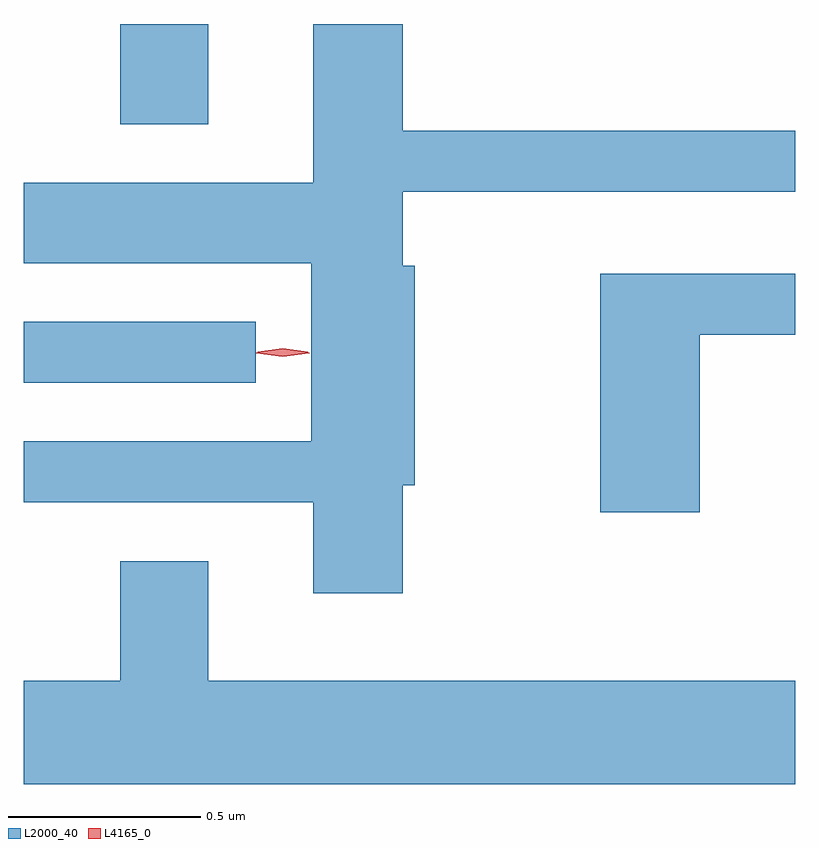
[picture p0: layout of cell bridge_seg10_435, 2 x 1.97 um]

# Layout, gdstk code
import gdstk
lib = gdstk.Library(unit=1e-6, precision=1e-09)
def R(c, l, rs):  # rectangles x0, y0, x1, y1
    for r in rs: c.add(gdstk.rectangle(r[:2], r[2:], *l))
def P(c, l, *ps):  # polygons
    for p in ps: c.add(gdstk.Polygon(p, *l))
L2000_40 = (2000, 40)
L4165_0 = (4165, 0)

bridge_seg10_435 = lib.new_cell('bridge_seg10_435')
R(bridge_seg10_435, L2000_40, [(1378.531,2112.736,1379.133,2112.894), (1378.781,2113.406,1379.009,2113.666)])
P(bridge_seg10_435, L2000_40, [(1379.514,2112.471),(1379.544,2112.471),(1379.544,2113.039),(1379.514,2113.039),(1379.514,2113.231),(1380.531,2113.231),(1380.531,2113.389),(1379.514,2113.389),(1379.514,2113.666),(1379.281,2113.666),(1379.281,2113.254),(1378.531,2113.254),(1378.531,2113.046),(1379.276,2113.046),(1379.276,2112.584),(1378.531,2112.584),(1378.531,2112.426),(1379.281,2112.426),(1379.281,2112.191),(1379.514,2112.191)],
  [(1380.284,2112.861),(1380.531,2112.861),(1380.531,2113.019),(1380.026,2113.019),(1380.026,2112.401),(1380.284,2112.401)],
  [(1380.531,2111.964),(1379.009,2111.964),(1379.009,2112.274),(1378.781,2112.274),(1378.781,2111.964),(1378.531,2111.964),(1378.531,2111.696),(1380.531,2111.696)])
P(bridge_seg10_435, L4165_0, [(1379.202,2112.805),(1379.138,2112.814),(1379.137,2112.815),(1379.138,2112.816),(1379.202,2112.825),(1379.267,2112.816),(1379.267,2112.815),(1379.267,2112.814)],
  [(1379.203,2112.803),(1379.134,2112.812),(1379.134,2112.813),(1379.134,2112.814),(1379.203,2112.823),(1379.271,2112.814),(1379.272,2112.813),(1379.271,2112.812)])

lib.write_gds('bridge_seg10_435.gds')
